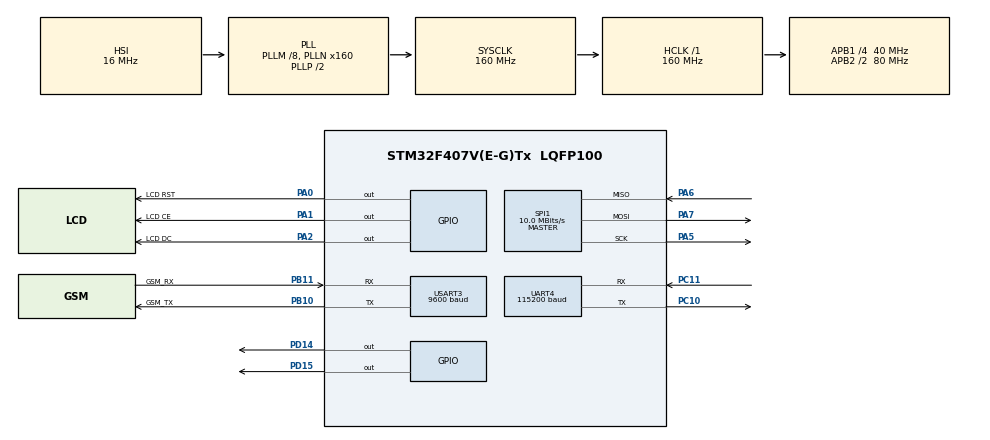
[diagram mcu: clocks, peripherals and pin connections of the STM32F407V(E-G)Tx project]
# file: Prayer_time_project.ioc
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Dma.Request0=USART3_TX
Dma.Request1=UART4_TX
Dma.Request2=USART3_RX
Dma.UART4_TX.1.Direction=DMA_MEMORY_TO_PERIPH
Dma.UART4_TX.1.FIFOMode=DMA_FIFOMODE_DISABLE
Dma.UART4_TX.1.Instance=DMA1_Stream4
Dma.UART4_TX.1.MemDataAlignment=DMA_MDATAALIGN_BYTE
Dma.UART4_TX.1.MemInc=DMA_MINC_ENABLE
Dma.UART4_TX.1.Mode=DMA_NORMAL
Dma.UART4_TX.1.PeriphDataAlignment=DMA_PDATAALIGN_BYTE
Dma.UART4_TX.1.PeriphInc=DMA_PINC_DISABLE
Dma.UART4_TX.1.Priority=DMA_PRIORITY_LOW
Dma.USART3_RX.2.Direction=DMA_PERIPH_TO_MEMORY
Dma.USART3_RX.2.FIFOMode=DMA_FIFOMODE_DISABLE
Dma.USART3_RX.2.Instance=DMA1_Stream1
Dma.USART3_RX.2.MemDataAlignment=DMA_MDATAALIGN_BYTE
Dma.USART3_RX.2.MemInc=DMA_MINC_ENABLE
Dma.USART3_RX.2.Mode=DMA_CIRCULAR
Dma.USART3_RX.2.PeriphDataAlignment=DMA_PDATAALIGN_BYTE
Dma.USART3_RX.2.PeriphInc=DMA_PINC_DISABLE
Dma.USART3_RX.2.Priority=DMA_PRIORITY_HIGH
Dma.USART3_TX.0.Direction=DMA_MEMORY_TO_PERIPH
Dma.USART3_TX.0.FIFOMode=DMA_FIFOMODE_DISABLE
Dma.USART3_TX.0.Instance=DMA1_Stream3
Dma.USART3_TX.0.MemDataAlignment=DMA_MDATAALIGN_BYTE
Dma.USART3_TX.0.MemInc=DMA_MINC_ENABLE
Dma.USART3_TX.0.Mode=DMA_NORMAL
Dma.USART3_TX.0.PeriphDataAlignment=DMA_PDATAALIGN_BYTE
Dma.USART3_TX.0.PeriphInc=DMA_PINC_DISABLE
Dma.USART3_TX.0.Priority=DMA_PRIORITY_LOW
Mcu.Family=STM32F4
Mcu.Name=STM32F407V(E-G)Tx
Mcu.Package=LQFP100
NVIC.DMA1_Stream1_IRQn=true\:0\:0\:false\:false\:true\:false\:true\:true
NVIC.DMA1_Stream3_IRQn=true\:0\:0\:false\:false\:true\:false\:true\:true
NVIC.DMA1_Stream4_IRQn=true\:0\:0\:false\:false\:true\:false\:true\:true
NVIC.PriorityGroup=NVIC_PRIORITYGROUP_0
NVIC.UART4_IRQn=true\:0\:0\:false\:false\:true\:true\:true\:true
NVIC.USART3_IRQn=true\:0\:0\:false\:false\:true\:true\:true\:true
PA0-WKUP.GPIO_Label=LCD RST
PA0-WKUP.Signal=GPIO_Output
PA1.GPIO_Label=LCD CE
PA1.Signal=GPIO_Output
PA2.GPIO_Label=LCD DC
PA2.Signal=GPIO_Output
PA5.Mode=Full_Duplex_Master
PA5.Signal=SPI1_SCK
PA6.Mode=Full_Duplex_Master
PA6.Signal=SPI1_MISO
PA7.Mode=Full_Duplex_Master
PA7.Signal=SPI1_MOSI
PB10.GPIO_Label=GSM_TX
PB10.Mode=Asynchronous
PB10.Signal=USART3_TX
PB11.GPIO_Label=GSM_RX
PB11.Mode=Asynchronous
PB11.Signal=USART3_RX
PC10.Mode=Asynchronous
PC10.Signal=UART4_TX
PC11.Mode=Asynchronous
PC11.Signal=UART4_RX
PD14.Signal=GPIO_Output
PD15.Signal=GPIO_Output
ProjectManager.HeapSize=0x200
ProjectManager.StackSize=0x400
ProjectManager.TargetToolchain=STM32CubeIDE
RCC.48MHZClocksFreq_Value=45714285.71428572
RCC.AHBFreq_Value=160000000
RCC.APB1CLKDivider=RCC_HCLK_DIV4
RCC.APB1Freq_Value=40000000
RCC.APB1TimFreq_Value=80000000
RCC.APB2CLKDivider=RCC_HCLK_DIV2
RCC.APB2Freq_Value=80000000
RCC.APB2TimFreq_Value=160000000
RCC.CortexFreq_Value=160000000
RCC.HCLKFreq_Value=160000000
RCC.HSE_VALUE=8000000
RCC.HSI_VALUE=16000000
RCC.LSE_VALUE=32768
RCC.PLLM=8
RCC.PLLN=160
RCC.PLLQ=7
RCC.SYSCLKFreq_VALUE=160000000
RCC.SYSCLKSource=RCC_SYSCLKSOURCE_PLLCLK
RCC.VCOOutputFreq_Value=320000000
SPI1.BaudRatePrescaler=SPI_BAUDRATEPRESCALER_8
SPI1.CalculateBaudRate=10.0 MBits/s
SPI1.Direction=SPI_DIRECTION_2LINES
SPI1.Mode=SPI_MODE_MASTER
SPI1.VirtualType=VM_MASTER
UART4.BaudRate=115200
UART4.VirtualMode=Asynchronous
USART3.BaudRate=9600
USART3.VirtualMode=VM_ASYNC
board=STM32F407G-DISC1

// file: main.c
/* USER CODE BEGIN Header */
/**
 ******************************************************************************
 * @file           : main.c
 * @brief          : Main program body
 ******************************************************************************
 * @attention
 *
 * Copyright (c) 2022 STMicroelectronics.
 * All rights reserved.
 *
 * This software is licensed under terms that can be found in the LICENSE file
 * in the root directory of this software component.
 * If no LICENSE file comes with this software, it is provided AS-IS.
 *
 ******************************************************************************
 */
/* USER CODE END Header */
#include "main.h"

/* USER CODE BEGIN Includes */
#include "Font.h"
#include <string.h>
#include <stdio.h>
/* USER CODE END Includes */

/* USER CODE BEGIN PM */
#define MAX 1400
/* USER CODE END PM */

SPI_HandleTypeDef hspi1;

UART_HandleTypeDef huart4;
UART_HandleTypeDef huart3;
DMA_HandleTypeDef hdma_uart4_tx;
DMA_HandleTypeDef hdma_usart3_tx;
DMA_HandleTypeDef hdma_usart3_rx;

void SystemClock_Config(void);
static void MX_GPIO_Init(void);
static void MX_DMA_Init(void);
static void MX_SPI1_Init(void);
static void MX_USART3_UART_Init(void);
static void MX_UART4_Init(void);

/* USER CODE BEGIN 0 */
uint8_t spi_byte;
char gsm_rx_buffer[MAX];
char gsm_rx_buffer2[MAX];

uint8_t gsm_tx_buffer[512];
char significant_data_buffer[MAX];
volatile char gsm_incoming_byte;
volatile uint16_t gsm_index = 0;
volatile uint8_t prayer_times_are_parsed = 0;
volatile uint8_t comma_count = 0;

volatile uint8_t flag_OK_Status = 0;
volatile uint8_t flag_HTTP_Status_200 = 0;
volatile uint8_t flag_HTTP_Get_New_Data = 0;
volatile uint8_t flag_HTTP_Unread_Data = 0;

typedef struct
{
	char imsak[10];
	char gunes[10];
	char ogle[10];
	char ikindi[10];
	char aksam[10];
	char yatsi[10];

}prayer_times_t;

prayer_times_t prayer_times;

void parse_significant_data(char *target, char *source)
{
	while(comma_count <= 8)
	{
		if(*source == ',')
		{
			comma_count ++;
		}

		*target = *source;
		source ++;
		target ++;
	}
	*target = '\0';
}

void parse_prayer_times()
{

	char *token = strtok(significant_data_buffer, ",");
	//puts(token);
	sscanf(token, "%*[^:]:\"%[^\"]", prayer_times.imsak);

	token = strtok(NULL, ",");
	sscanf(token, "%*[^:]:\"%[^\"]", prayer_times.gunes);
	//puts(token);

	token = strtok(NULL, ",");
	sscanf(token, "%*[^:]:\"%[^\"]", prayer_times.ogle);
	//puts(token);

	token = strtok(NULL, ",");
	sscanf(token, "%*[^:]:\"%[^\"]", prayer_times.ikindi);
	//puts(token);

	token = strtok(NULL, ",");
	sscanf(token, "%*[^:]:\"%[^\"]", prayer_times.aksam);
	//puts(token);

	token = strtok(NULL, ",");	// PASS - Repeated data

	token = strtok(NULL, ",");
	sscanf(token, "%*[^:]:\"%[^\"]", prayer_times.yatsi);
	//puts(token);
}

uint8_t gsm_end_of_data(unsigned char data) // detect "end of line" from uart
{
	volatile static uint8_t cr_flag = 0;
	volatile static uint8_t data_step = 0;

	data_step++;

	if(data == '\r')
	{
		cr_flag = 1;
		data_step = 1;
	}

	if( (data_step == 2) && (cr_flag = 1) && (data == '\n')) //CRLF came and there is nothing between them
	{
		data_step = 0;
		cr_flag = 0;
		return 1;
	}

	else
	{
		return 0;
	}
}

void sim800_init()
{
	HAL_Delay(1000);

	uint8_t attempts_count = 0;
	uint8_t dont_continue = 0;

	flag_OK_Status = 0;
	if (dont_continue != 1)
	{
		do {
			snprintf((char *)gsm_tx_buffer, sizeof(gsm_tx_buffer), "%s\r\n", "ATE0");
			HAL_UART_Transmit(&huart3, gsm_tx_buffer, strlen((const char *)gsm_tx_buffer), HAL_MAX_DELAY);
			HAL_Delay(1000);
			attempts_count++;
			if (attempts_count >= 10)
			{
				dont_continue = 1;
				break;
			}
		} while (flag_OK_Status == 0);
	}
	attempts_count = 0;

	flag_OK_Status = 0;
	if (dont_continue != 1)
	{
		do {
			snprintf((char *)gsm_tx_buffer, sizeof(gsm_tx_buffer), "%s\r\n", "AT+CMGF=1");
			HAL_UART_Transmit(&huart3, gsm_tx_buffer, strlen((const char *)gsm_tx_buffer), HAL_MAX_DELAY);
			HAL_Delay(1000);
			attempts_count++;
			if (attempts_count >= 10)
			{
				dont_continue = 1;
				break;
			}
		} while (flag_OK_Status == 0);
	}
	attempts_count = 0;

	flag_OK_Status = 0;
	if (dont_continue != 1)
	{
		do {
			snprintf((char *)gsm_tx_buffer, sizeof(gsm_tx_buffer), "%s\r\n", "AT+CNMI=1,2,0,0,0");
			HAL_UART_Transmit(&huart3, gsm_tx_buffer, strlen((const char *)gsm_tx_buffer), HAL_MAX_DELAY);
			HAL_Delay(1000);
			attempts_count++;
			if (attempts_count >= 10)
			{
				dont_continue = 1;
				break;
			}
		} while (flag_OK_Status == 0);
	}
	attempts_count = 0;

	/*
	snprintf((char *)gsm_tx_buffer, sizeof(gsm_tx_buffer), "%s\r\n", "AT+CLIP=1");
	HAL_UART_Transmit(&huart3, gsm_tx_buffer, strlen((const char *)gsm_tx_buffer), HAL_MAX_DELAY);
	 */

	HAL_Delay(300);

	flag_OK_Status = 0;
	if (dont_continue != 1)
	{
		do {
			snprintf((char *)gsm_tx_buffer, sizeof(gsm_tx_buffer), "%s\r\n", "AT+SAPBR=3,1,\"Contype\", \"GPRS\"");
			HAL_UART_Transmit(&huart3, gsm_tx_buffer, strlen((const char *)gsm_tx_buffer), HAL_MAX_DELAY);
			HAL_Delay(1000);
			attempts_count++;
			if (attempts_count >= 10)
			{
				dont_continue = 1;
				break;
			}
		} while (flag_OK_Status == 0);
	}
	attempts_count = 0;

	flag_OK_Status = 0;
	if (dont_continue != 1) {
		do {
			snprintf((char *)gsm_tx_buffer, sizeof(gsm_tx_buffer), "%s\r\n", "AT+SAPBR=3,1,\"APN\",\"internet\"");
			HAL_UART_Transmit(&huart3, gsm_tx_buffer, strlen((const char *)gsm_tx_buffer), HAL_MAX_DELAY);
			HAL_Delay(1000);
			attempts_count++;
			if (attempts_count >= 10)
			{
				dont_continue = 1;
				break;
			}
		} while (flag_OK_Status == 0);
	}
	attempts_count = 0;

	HAL_Delay(300);

	snprintf((char *)gsm_tx_buffer, sizeof(gsm_tx_buffer), "%s\r\n", "AT+SAPBR=1,1");
	HAL_UART_Transmit(&huart3, gsm_tx_buffer, strlen((const char *)gsm_tx_buffer), HAL_MAX_DELAY);
	flag_OK_Status = 0;

	HAL_Delay(300);

	flag_OK_Status = 0;
	if (dont_continue != 1)
	{
		snprintf((char *)gsm_tx_buffer, sizeof(gsm_tx_buffer), "%s\r\n", "AT+SAPBR=2,1"); //Show Ip
		HAL_UART_Transmit(&huart3, gsm_tx_buffer, strlen((const char *)gsm_tx_buffer), HAL_MAX_DELAY);

		do {
			HAL_Delay(1000);
			attempts_count++;
			if (attempts_count >= 50)
			{
				dont_continue = 1;
				break;
			}
		} while (flag_OK_Status == 0);
	}
	attempts_count = 0;

	if (dont_continue == 1)
	{
		// Some error messages
	}

}

void prayer_time_request()
{

	uint8_t attempts_count = 0;
	uint8_t dont_continue = 0;

	snprintf((char *)gsm_tx_buffer, sizeof(gsm_tx_buffer), "%s\r\n", "AT+HTTPTERM\r\n");
	HAL_UART_Transmit(&huart3, gsm_tx_buffer, strlen((const char *)gsm_tx_buffer), HAL_MAX_DELAY);
	HAL_Delay(100);

	flag_OK_Status = 0;
	if (dont_continue != 1)
	{
		do {
			snprintf((char *)gsm_tx_buffer, sizeof(gsm_tx_buffer), "%s\r\n", "AT+HTTPINIT");
			HAL_UART_Transmit(&huart3, gsm_tx_buffer, strlen((const char *)gsm_tx_buffer), HAL_MAX_DELAY);
			HAL_Delay(1000);
			attempts_count++;
			if (attempts_count >= 10)
			{
				dont_continue = 1;
				break;
			}
		} while (flag_OK_Status == 0);
	}
	attempts_count = 0;

	HAL_Delay(300);

	flag_OK_Status = 0;
	if (dont_continue != 1)
	{
		do {
			snprintf((char *)gsm_tx_buffer, sizeof(gsm_tx_buffer), "%s\r\n", "AT+HTTPPARA=\"CID\",1");
			HAL_UART_Transmit(&huart3, gsm_tx_buffer, strlen((const char *)gsm_tx_buffer), HAL_MAX_DELAY);
			HAL_Delay(1000);
			attempts_count++;
			if (attempts_count >= 10)
			{
				dont_continue = 1;
				break;
			}
		} while (flag_OK_Status == 0);
	}
	attempts_count = 0;

	HAL_Delay(300);

	flag_OK_Status = 0;
	if (dont_continue != 1)
	{
		do {
			snprintf((char *)gsm_tx_buffer, sizeof(gsm_tx_buffer), "%s\r\n", "AT+HTTPPARA=\"URL\",\"http://api.aladhan.com/v1/timingsByCity?city=Kahramanmaras&country=Turkey&method=13&school=1\"");
			HAL_UART_Transmit(&huart3, gsm_tx_buffer, strlen((const char *)gsm_tx_buffer), HAL_MAX_DELAY);
			HAL_Delay(1000);
			attempts_count++;
			if (attempts_count >= 10)
			{
				dont_continue = 1;
				break;
			}
		} while (flag_OK_Status == 0);
	}
	attempts_count = 0;

	flag_OK_Status = 0;
	if (dont_continue != 1)
	{
		flag_HTTP_Status_200 = 0;
		snprintf((char *)gsm_tx_buffer, sizeof(gsm_tx_buffer), "%s", "AT+HTTPACTION=0\r\n");
		HAL_UART_Transmit(&huart3, gsm_tx_buffer, strlen((const char *)gsm_tx_buffer), HAL_MAX_DELAY);
		HAL_Delay(1000);
		flag_OK_Status = 0;

		do {
			HAL_Delay(1000);
			attempts_count++;
			if (attempts_count >= 10) {
				dont_continue = 1;
				break;
			}
		} while (flag_HTTP_Status_200 == 0);
	}
	attempts_count = 0;

	flag_OK_Status = 0;
	if (dont_continue != 1)
	{
		HAL_Delay(1000);
		snprintf((char *)gsm_tx_buffer, sizeof(gsm_tx_buffer), "%s", "AT+HTTPREAD\r\n");
		HAL_UART_Transmit(&huart3, gsm_tx_buffer, strlen((const char *)gsm_tx_buffer), HAL_MAX_DELAY);
		do {
			HAL_Delay(1000);
			attempts_count++;
			if (attempts_count >= 100) {
				dont_continue = 1;
				break;
			}
		} while (flag_OK_Status == 0);
	}
	attempts_count = 0;

	flag_OK_Status = 0;
	if (dont_continue != 1)
	{
		do {
			snprintf((char *)gsm_tx_buffer, sizeof(gsm_tx_buffer), "%s\r\n", "AT+HTTPTERM");
			HAL_UART_Transmit(&huart3, gsm_tx_buffer, strlen((const char *)gsm_tx_buffer), HAL_MAX_DELAY);
			HAL_Delay(1000);
			attempts_count++;
			if (attempts_count >= 10) {
				dont_continue = 1;
				break;
			}
		} while (flag_OK_Status == 0);
	}
	attempts_count = 0;

	if (dont_continue == 1)
	{
		// HTTP Request Error
	}

}

char incoming_byte;
char mystring[15] = "Fajr";

void HAL_UART_RxCpltCallback(UART_HandleTypeDef *huart)
{
	if(huart->Instance == USART3)	//GSM
	{
		incoming_byte = gsm_incoming_byte;

		if(gsm_index == MAX-1)
		{
			gsm_index = 0;
		}

		if(gsm_end_of_data(incoming_byte))
		{

			if (flag_HTTP_Get_New_Data == 1)
			{
				char *p = strstr((char *)gsm_rx_buffer, mystring);
				if(p) // Detect the keyword
				{
					HAL_GPIO_WritePin(GPIOD, GPIO_PIN_15, GPIO_PIN_SET);
					parse_significant_data(significant_data_buffer, p);
					parse_prayer_times();
					gsm_index = 0;
					prayer_times_are_parsed = 1;
					memset((char *)gsm_rx_buffer, '\0', sizeof(gsm_rx_buffer));
				}
				flag_HTTP_Get_New_Data = 0;
				flag_HTTP_Unread_Data = 1;
			}

			if (strstr((char *)gsm_rx_buffer, "OK"))
			{
				flag_OK_Status = 1;
				gsm_index = 0;
				memset((char *)gsm_rx_buffer, '\0', sizeof(gsm_rx_buffer));
			}

			if (strstr((char *)gsm_rx_buffer, "HTTPACTION: 0,200")) {
				flag_HTTP_Status_200 = 1;
				gsm_index = 0;
				memset((char *)gsm_rx_buffer, '\0', sizeof(gsm_rx_buffer));
			}

			if (strstr((char *)gsm_rx_buffer, "+HTTPREAD:")) {
				flag_HTTP_Get_New_Data = 1;
				gsm_index = 0;
				memset((char *)gsm_rx_buffer, '\0', sizeof(gsm_rx_buffer));
			}

			if(strstr((char *)gsm_rx_buffer, "kapali")) // There is a new message
			{
				gsm_index = 0;
				memset((char *)gsm_rx_buffer, '\0', sizeof(gsm_rx_buffer));
				HAL_GPIO_WritePin(GPIOD, GPIO_PIN_15, GPIO_PIN_RESET);

			}

			gsm_index = 0;

		}

		else // save uart byte to the buffer
		{
			gsm_rx_buffer[gsm_index] = incoming_byte;
			gsm_index ++;
		}

	}

}

/* USER CODE END 0 */

int main(void)
{

	/* MCU Configuration--------------------------------------------------------*/

	/* Reset of all peripherals, Initializes the Flash interface and the Systick. */
	HAL_Init();

	/* Configure the system clock */
	SystemClock_Config();

	/* Initialize all configured peripherals */
	MX_GPIO_Init();
	MX_DMA_Init();
	MX_SPI1_Init();
	MX_USART3_UART_Init();
	MX_UART4_Init();
	/* USER CODE BEGIN 2 */

	HAL_UART_Receive_DMA(&huart3, &gsm_incoming_byte, 1); // UART GSM Receive enable

	sim800_init();
	prayer_time_request();

	char lcd_buffer[15];

	HAL_GPIO_WritePin(GPIOA, GPIO_PIN_1, GPIO_PIN_SET); // CE High
	HAL_GPIO_WritePin(GPIOA, GPIO_PIN_0, GPIO_PIN_SET); // RST High

	void lcd_command(uint8_t data)
	{
		HAL_GPIO_WritePin(GPIOA, GPIO_PIN_1, GPIO_PIN_RESET); // CE Low
		HAL_GPIO_WritePin(GPIOA, GPIO_PIN_2, GPIO_PIN_RESET); // DC Low
		HAL_SPI_Transmit(&hspi1, &data, sizeof(data), HAL_MAX_DELAY);
		HAL_GPIO_WritePin(GPIOA, GPIO_PIN_1, GPIO_PIN_SET); // CE High
	}

	void lcd_clear()
	{
		int i;
		uint8_t data = 0x00;
		HAL_GPIO_WritePin(GPIOA, GPIO_PIN_1, GPIO_PIN_RESET); // CE Low
		HAL_GPIO_WritePin(GPIOA, GPIO_PIN_2, GPIO_PIN_SET); // DC High

		for (i = 0; i < 504; i++)
		{
			HAL_SPI_Transmit(&hspi1, &data, 1, HAL_MAX_DELAY);
		}
		HAL_GPIO_WritePin(GPIOA, GPIO_PIN_2, GPIO_PIN_RESET); // DC Low
		HAL_GPIO_WritePin(GPIOA, GPIO_PIN_1, GPIO_PIN_SET); // CE High
	}

	void lcd_reset()
	{
		HAL_GPIO_WritePin(GPIOA, GPIO_PIN_0, GPIO_PIN_RESET); // RST Low
		HAL_Delay(100);
		HAL_GPIO_WritePin(GPIOA, GPIO_PIN_0, GPIO_PIN_SET); // RST High
	}

	void lcd_write(char *data)
	{
		HAL_GPIO_WritePin(GPIOA, GPIO_PIN_2, GPIO_PIN_SET); // DC High
		HAL_GPIO_WritePin(GPIOA, GPIO_PIN_1, GPIO_PIN_RESET); // CE Low
		uint8_t data_lenght = strlen(data);
		for(uint8_t char_order = 0; char_order < data_lenght; char_order ++)
		{
			for(uint8_t pixel_column = 0; pixel_column < 5; pixel_column ++)
			{
				HAL_SPI_Transmit(&hspi1, (uint8_t *)&(ASCII[data[char_order]-0x20][pixel_column]), 1, HAL_MAX_DELAY);
			}
			spi_byte = 0x00;
			HAL_SPI_Transmit(&hspi1, &spi_byte, 1, HAL_MAX_DELAY);

		}
		HAL_GPIO_WritePin(GPIOA, GPIO_PIN_1, GPIO_PIN_SET); // CE High
		HAL_GPIO_WritePin(GPIOA, GPIO_PIN_2, GPIO_PIN_RESET); // DC Low
	}

	void lcd_set_colomn_row(char x, char y)
	{
		lcd_command((x |= (1 << 7)));
		lcd_command((y |= (1 << 6)));
	}

	void lcd_init()
	{
		lcd_reset();
		HAL_Delay(100);
		lcd_command(0x21);  /* command set in addition mode */
		//100001
		lcd_command(0xC0);  /* set the voltage by sending C0 means VOP = 5V */
		//11000000
		lcd_command(0x07);  /* set the temp. coefficient to 3 */
		//111
		lcd_command(0x13);  /* set value of Voltage Bias System */
		//10011    bias n4
		lcd_command(0x20);  /* command set in basic mode */
		//100000
		lcd_command(0x0C);  /* display result in normal mode */
		//1100
	}

	void lcd_write_int(uint16_t number)
	{
		sprintf(lcd_buffer, "%d", number);
		lcd_write(lcd_buffer);
	}

	void lcd_write_float(float number)
	{
		sprintf(lcd_buffer, "%.2f", number);
		lcd_write(lcd_buffer);
	}

	lcd_init();
	lcd_clear();
	lcd_set_colomn_row(0, 0);

	/* USER CODE END 2 */

	/* Infinite loop */
	/* USER CODE BEGIN WHILE */
	while (1)
	{
		if(prayer_times_are_parsed == 1)
		{
			prayer_times_are_parsed = 0;
			lcd_clear();
			lcd_set_colomn_row(0, 0);
			lcd_write("Imsak ->");
			lcd_set_colomn_row(50, 0);
			lcd_write(prayer_times.imsak);

			lcd_set_colomn_row(0, 1);
			lcd_write("Gunes ->");
			lcd_set_colomn_row(50, 1);

			lcd_write(prayer_times.gunes);

			lcd_set_colomn_row(0, 2);
			lcd_write("Ogle ->");
			lcd_set_colomn_row(50, 2);

			lcd_write(prayer_times.ogle);

			lcd_set_colomn_row(0, 3);
			lcd_write("Ikindi->");
			lcd_set_colomn_row(50, 3);

			lcd_write(prayer_times.ikindi);

			lcd_set_colomn_row(0, 4);
			lcd_write("Aksam ->");
			lcd_set_colomn_row(50, 4);

			lcd_write(prayer_times.aksam);

			lcd_set_colomn_row(0, 5);
			lcd_write("Yatsi ->");
			lcd_set_colomn_row(50, 5);
			lcd_write(prayer_times.yatsi);
		}
		HAL_GPIO_TogglePin(GPIOD, GPIO_PIN_14);
		HAL_Delay(1000);
		/* USER CODE END WHILE */

	}
}

void SystemClock_Config(void)
{
	RCC_OscInitTypeDef RCC_OscInitStruct = {0};
	RCC_ClkInitTypeDef RCC_ClkInitStruct = {0};

	/** Configure the main internal regulator output voltage
	 */
	__HAL_RCC_PWR_CLK_ENABLE();
	__HAL_PWR_VOLTAGESCALING_CONFIG(PWR_REGULATOR_VOLTAGE_SCALE1);

	/** Initializes the RCC Oscillators according to the specified parameters
	 * in the RCC_OscInitTypeDef structure.
	 */
	RCC_OscInitStruct.OscillatorType = RCC_OSCILLATORTYPE_HSI;
	RCC_OscInitStruct.HSIState = RCC_HSI_ON;
	RCC_OscInitStruct.HSICalibrationValue = RCC_HSICALIBRATION_DEFAULT;
	RCC_OscInitStruct.PLL.PLLState = RCC_PLL_ON;
	RCC_OscInitStruct.PLL.PLLSource = RCC_PLLSOURCE_HSI;
	RCC_OscInitStruct.PLL.PLLM = 8;
	RCC_OscInitStruct.PLL.PLLN = 160;
	RCC_OscInitStruct.PLL.PLLP = RCC_PLLP_DIV2;
	RCC_OscInitStruct.PLL.PLLQ = 7;
	if (HAL_RCC_OscConfig(&RCC_OscInitStruct) != HAL_OK)
	{
		Error_Handler();
	}

	/** Initializes the CPU, AHB and APB buses clocks
	 */
	RCC_ClkInitStruct.ClockType = RCC_CLOCKTYPE_HCLK|RCC_CLOCKTYPE_SYSCLK
			|RCC_CLOCKTYPE_PCLK1|RCC_CLOCKTYPE_PCLK2;
	RCC_ClkInitStruct.SYSCLKSource = RCC_SYSCLKSOURCE_PLLCLK;
	RCC_ClkInitStruct.AHBCLKDivider = RCC_SYSCLK_DIV1;
	RCC_ClkInitStruct.APB1CLKDivider = RCC_HCLK_DIV4;
	RCC_ClkInitStruct.APB2CLKDivider = RCC_HCLK_DIV2;

	if (HAL_RCC_ClockConfig(&RCC_ClkInitStruct, FLASH_LATENCY_5) != HAL_OK)
	{
		Error_Handler();
	}
}

static void MX_SPI1_Init(void)
{

	/* SPI1 parameter configuration*/
	hspi1.Instance = SPI1;
	hspi1.Init.Mode = SPI_MODE_MASTER;
	hspi1.Init.Direction = SPI_DIRECTION_2LINES;
	hspi1.Init.DataSize = SPI_DATASIZE_8BIT;
	hspi1.Init.CLKPolarity = SPI_POLARITY_LOW;
	hspi1.Init.CLKPhase = SPI_PHASE_1EDGE;
	hspi1.Init.NSS = SPI_NSS_SOFT;
	hspi1.Init.BaudRatePrescaler = SPI_BAUDRATEPRESCALER_8;
	hspi1.Init.FirstBit = SPI_FIRSTBIT_MSB;
	hspi1.Init.TIMode = SPI_TIMODE_DISABLE;
	hspi1.Init.CRCCalculation = SPI_CRCCALCULATION_DISABLE;
	hspi1.Init.CRCPolynomial = 10;
	if (HAL_SPI_Init(&hspi1) != HAL_OK)
	{
		Error_Handler();
	}

}

static void MX_UART4_Init(void)
{

	huart4.Instance = UART4;
	huart4.Init.BaudRate = 115200;
	huart4.Init.WordLength = UART_WORDLENGTH_8B;
	huart4.Init.StopBits = UART_STOPBITS_1;
	huart4.Init.Parity = UART_PARITY_NONE;
	huart4.Init.Mode = UART_MODE_TX_RX;
	huart4.Init.HwFlowCtl = UART_HWCONTROL_NONE;
	huart4.Init.OverSampling = UART_OVERSAMPLING_16;
	if (HAL_UART_Init(&huart4) != HAL_OK)
	{
		Error_Handler();
	}

}

static void MX_USART3_UART_Init(void)
{

	huart3.Instance = USART3;
	huart3.Init.BaudRate = 9600;
	huart3.Init.WordLength = UART_WORDLENGTH_8B;
	huart3.Init.StopBits = UART_STOPBITS_1;
	huart3.Init.Parity = UART_PARITY_NONE;
	huart3.Init.Mode = UART_MODE_TX_RX;
	huart3.Init.HwFlowCtl = UART_HWCONTROL_NONE;
	huart3.Init.OverSampling = UART_OVERSAMPLING_16;
	if (HAL_UART_Init(&huart3) != HAL_OK)
	{
		Error_Handler();
	}

}

static void MX_DMA_Init(void)
{

	/* DMA controller clock enable */
	__HAL_RCC_DMA1_CLK_ENABLE();

	/* DMA interrupt init */
	/* DMA1_Stream1_IRQn interrupt configuration */
	HAL_NVIC_SetPriority(DMA1_Stream1_IRQn, 0, 0);
	HAL_NVIC_EnableIRQ(DMA1_Stream1_IRQn);
	/* DMA1_Stream3_IRQn interrupt configuration */
	HAL_NVIC_SetPriority(DMA1_Stream3_IRQn, 0, 0);
	HAL_NVIC_EnableIRQ(DMA1_Stream3_IRQn);
	/* DMA1_Stream4_IRQn interrupt configuration */
	HAL_NVIC_SetPriority(DMA1_Stream4_IRQn, 0, 0);
	HAL_NVIC_EnableIRQ(DMA1_Stream4_IRQn);

}

static void MX_GPIO_Init(void)
{
	GPIO_InitTypeDef GPIO_InitStruct = {0};

	/* GPIO Ports Clock Enable */
	__HAL_RCC_GPIOA_CLK_ENABLE();
	__HAL_RCC_GPIOB_CLK_ENABLE();
	__HAL_RCC_GPIOD_CLK_ENABLE();
	__HAL_RCC_GPIOC_CLK_ENABLE();

	/*Configure GPIO pin Output Level */
	HAL_GPIO_WritePin(GPIOA, LCD_RST_Pin|LCD_CE_Pin|LCD_DC_Pin, GPIO_PIN_RESET);

	/*Configure GPIO pin Output Level */
	HAL_GPIO_WritePin(GPIOD, GPIO_PIN_14|GPIO_PIN_15, GPIO_PIN_RESET);

	/*Configure GPIO pins : LCD_RST_Pin LCD_CE_Pin LCD_DC_Pin */
	GPIO_InitStruct.Pin = LCD_RST_Pin|LCD_CE_Pin|LCD_DC_Pin;
	GPIO_InitStruct.Mode = GPIO_MODE_OUTPUT_PP;
	GPIO_InitStruct.Pull = GPIO_NOPULL;
	GPIO_InitStruct.Speed = GPIO_SPEED_FREQ_LOW;
	HAL_GPIO_Init(GPIOA, &GPIO_InitStruct);

	/*Configure GPIO pins : PD14 PD15 */
	GPIO_InitStruct.Pin = GPIO_PIN_14|GPIO_PIN_15;
	GPIO_InitStruct.Mode = GPIO_MODE_OUTPUT_PP;
	GPIO_InitStruct.Pull = GPIO_NOPULL;
	GPIO_InitStruct.Speed = GPIO_SPEED_FREQ_LOW;
	HAL_GPIO_Init(GPIOD, &GPIO_InitStruct);

}

void Error_Handler(void)
{
	__disable_irq();
	while (1)
	{
	}
}
